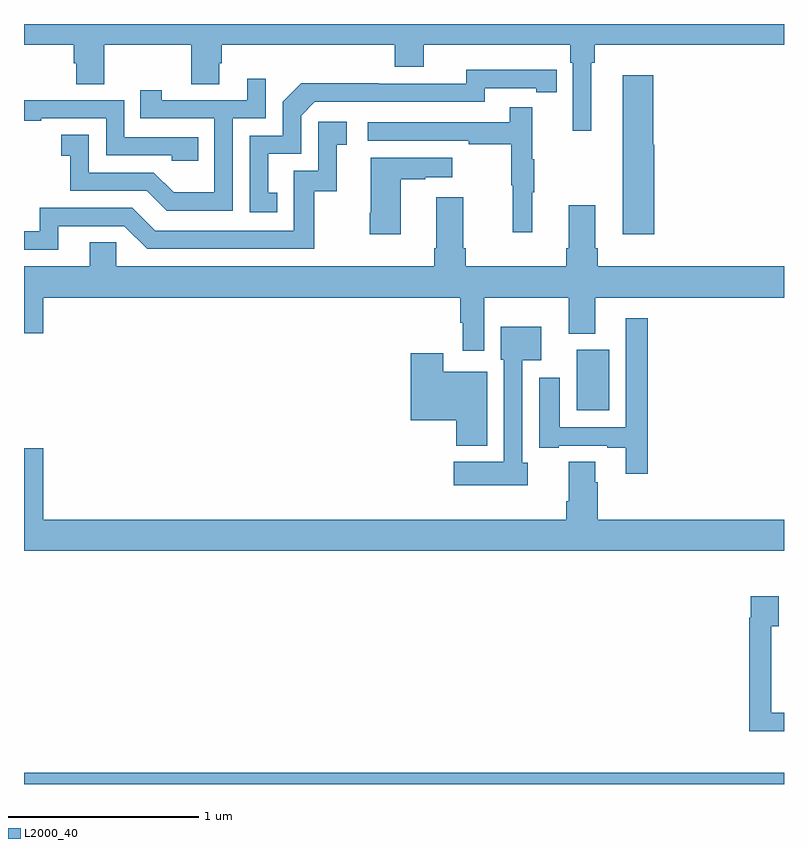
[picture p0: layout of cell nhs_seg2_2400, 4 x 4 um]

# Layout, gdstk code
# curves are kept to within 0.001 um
import gdstk
lib = gdstk.Library(unit=1e-6, precision=1e-09)
def R(c, l, rs):  # rectangles x0, y0, x1, y1
    for r in rs: c.add(gdstk.rectangle(r[:2], r[2:], *l))
def P(c, l, *ps):  # polygons
    for p in ps: c.add(gdstk.Polygon(p, *l))
L2000_40 = (2000, 40)

nhs_seg2_2400 = lib.new_cell('nhs_seg2_2400')
R(nhs_seg2_2400, L2000_40, [(237,587.8,241,587.86), (239.909,589.766,240.079,590.086)])
P(nhs_seg2_2400, L2000_40, [(237,591.692),(237.263,591.692),(237.263,591.594),(237.275,591.594),(237.275,591.484),(237.423,591.484),(237.423,591.692),(237.88,591.692),(237.88,591.484),(238.027,591.484),(238.027,591.594),(238.04,591.594),(238.04,591.692),(238.952,591.692),(238.952,591.575),(239.104,591.575),(239.104,591.692),(239.876,591.692),(239.876,591.596),(239.889,591.596),(239.889,591.237),(239.986,591.237),(239.986,591.596),(240.005,591.596),(240.005,591.692),(241,591.692),(241,591.8),(237,591.8)],
  [(238.334,590.913),(238.285,590.913),(238.285,591.117),(238.458,591.117),(238.458,591.318),(238.53,591.39),(239.424,591.39),(239.424,591.462),(239.696,591.462),(239.696,591.442),(239.804,591.442),(239.804,591.558),(239.328,591.559),(239.328,591.486),(238.868,591.486),(238.868,591.488),(238.46,591.488),(238.362,591.39),(238.362,591.213),(238.188,591.213),(238.188,590.808),(238.334,590.808)],
  [(240.316,591.165),(240.311,591.165),(240.311,591.529),(240.152,591.529),(240.152,590.694),(240.316,590.694)],
  [(238.098,591.303),(238.272,591.303),(238.272,591.511),(238.175,591.511),(238.175,591.399),(237.724,591.399),(237.724,591.451),(237.613,591.451),(237.613,591.303),(238.002,591.303),(238.002,590.914),(237.788,590.914),(237.684,591.018),(237.342,591.018),(237.342,591.217),(237.195,591.217),(237.195,591.107),(237.244,591.107),(237.244,590.922),(237.647,590.922),(237.752,590.817),(238.098,590.817)],
  [(237.917,591.204),(237.528,591.204),(237.528,591.399),(237,591.399),(237,591.291),(237.091,591.291),(237.091,591.303),(237.432,591.303),(237.432,591.108),(237.777,591.108),(237.777,591.081),(237.917,591.081)],
  [(239.675,590.915),(239.686,590.915),(239.686,591.089),(239.675,591.089),(239.675,591.361),(239.557,591.361),(239.557,591.282),(238.809,591.282),(238.809,591.186),(239.341,591.186),(239.341,591.166),(239.565,591.166),(239.565,590.952),(239.572,590.952),(239.572,590.703),(239.675,590.703)],
  [(237.181,590.736),(237.528,590.736),(237.648,590.616),(238.528,590.616),(238.528,590.919),(238.646,590.919),(238.646,591.165),(238.699,591.165),(238.699,591.286),(238.548,591.286),(238.548,591.027),(238.419,591.027),(238.419,590.712),(237.69,590.712),(237.57,590.832),(237.084,590.832),(237.084,590.709),(237,590.709),(237,590.613),(237.181,590.613)],
  [(238.984,590.983),(239.111,590.983),(239.111,590.993),(239.254,590.993),(239.254,591.097),(238.826,591.097),(238.826,590.806),(238.819,590.806),(238.819,590.694),(238.984,590.694)],
  [(239.422,590.36),(239.867,590.36),(239.867,590.171),(240.007,590.171),(240.007,590.36),(241,590.36),(241,590.524),(240.02,590.524),(240.02,590.62),(240.007,590.62),(240.007,590.845),(239.867,590.845),(239.867,590.62),(239.855,590.62),(239.855,590.524),(239.324,590.524),(239.324,590.62),(239.311,590.62),(239.311,590.887),(239.171,590.887),(239.171,590.62),(239.159,590.62),(239.159,590.524),(237.486,590.524),(237.486,590.651),(237.347,590.651),(237.347,590.524),(237,590.524),(237,590.172),(237.1,590.172),(237.1,590.36),(239.297,590.36),(239.297,590.228),(239.309,590.228),(239.309,590.079),(239.422,590.079)],
  [(240.284,590.251),(240.168,590.251),(240.168,589.677),(239.821,589.677),(239.821,589.939),(239.711,589.939),(239.711,589.569),(239.815,589.569),(239.815,589.581),(240.071,589.581),(240.071,589.569),(240.167,589.569),(240.167,589.434),(240.284,589.434)],
  [(239.65,589.491),(239.622,589.491),(239.622,590.03),(239.722,590.03),(239.722,590.206),(239.51,590.206),(239.51,590.034),(239.526,590.034),(239.526,589.495),(239.262,589.495),(239.262,589.373),(239.65,589.373)],
  [(239.437,589.969),(239.206,589.969),(239.206,590.068),(239.036,590.068),(239.036,589.715),(239.276,589.715),(239.276,589.58),(239.437,589.58)],
  [(241,589.192),(240.02,589.192),(240.02,589.388),(240.007,589.388),(240.007,589.496),(239.867,589.496),(239.867,589.288),(239.855,589.288),(239.855,589.192),(237.1,589.192),(237.1,589.567),(237,589.567),(237,589.028),(241,589.028)],
  [(241,588.174),(240.933,588.174),(240.933,588.631),(240.973,588.631),(240.973,588.787),(240.825,588.787),(240.825,588.674),(240.817,588.674),(240.817,588.077),(241,588.077)])

lib.write_gds('nhs_seg2_2400.gds')
